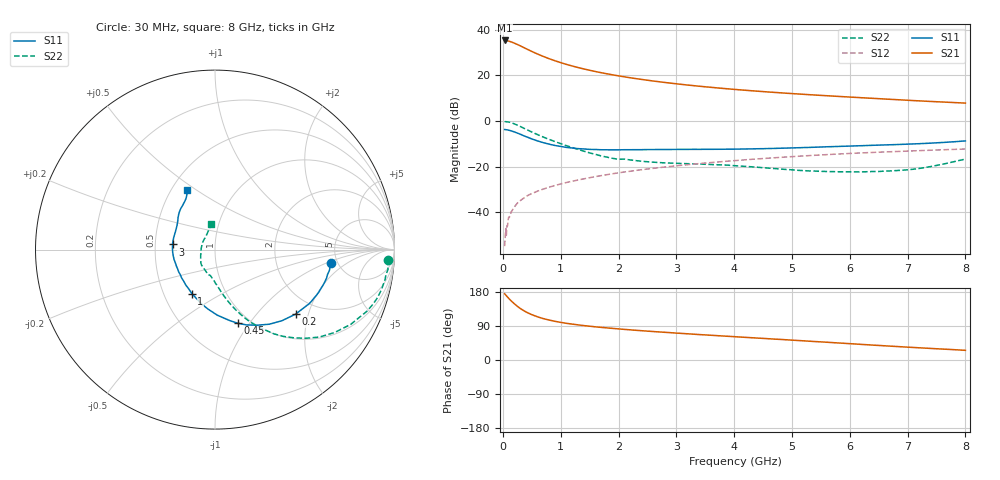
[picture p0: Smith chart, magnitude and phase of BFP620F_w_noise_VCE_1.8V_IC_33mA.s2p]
! Infineon Technologies  Discrete & RF Semiconductors
! BFP620F
! VCE =  1.8 V,  IC =  33 mA
! Common Emitter S-Parameters:  Dec 2014
# GHz  S  MA  R  50
!  f  S11  S21  S12  S22
! GHz  MAG  ANG  MAG  ANG  MAG  ANG  MAG  ANG
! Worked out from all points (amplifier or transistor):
!   95 points, 30 MHz to 8 GHz, reference 50 ohm
!   highest |S21| = 35.3 dB at 30 MHz (marker M1)
!   |S21| within 3 dB of that: start of sweep to 351.4 MHz
!   unconditionally stable (mu >= 1): 2.377 GHz to end of sweep
!   at 300 MHz: K = 0.39, MSG = 34.0 dB, |S12| = -34.9 dB
!   at 3.3 GHz: K = 1.02, MAG = 16.2 dB, |S12| = -18.9 dB
!   at 8 GHz: K = 1.06, MAG = 8.6 dB, |S12| = -12.3 dB
!   lowest NFmin = 1.20 dB at 450 MHz
!   S11 on the Smith chart (normalised r, x): 30 MHz: 4.42, -1.11; 200 MHz: 1.55, -1.66; 450 MHz: 0.88, -0.88; 1 GHz: 0.69, -0.37; 3 GHz: 0.62, +0.04; 8 GHz: 0.60, +0.46
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0.03  0.6496 -6.4  58.41 174.8  0.0018 71.7  0.9638 -3.3
0.08  0.6379 -16.3  57.42 166.2  0.005 72.5  0.9581 -11.5
0.12  0.6198 -24.3  55.49 159.6  0.0082 79.8  0.9371 -17.9
0.15  0.6051 -29.9  53.98 155.1  0.0104 77.8  0.9128 -22.2
0.2  0.5754 -38.6  50.88 148.1  0.0131 74.7  0.8629 -28.9
0.25  0.5444 -46.7  47.75 141.7  0.0158 71.4  0.811 -34.7
0.3  0.5139 -54.0  44.56 136.1  0.0179 71.8  0.7584 -40.0
0.4  0.4543 -67.4  38.63 126.8  0.0221 67.0  0.658 -48.3
0.45  0.4295 -72.8  35.98 123.1  0.024 66.8  0.6152 -51.8
0.5  0.4047 -78.1  33.57 119.7  0.0256 66.5  0.5745 -54.9
0.6  0.3656 -88.0  29.42 113.9  0.029 65.7  0.5026 -60.0
0.7  0.335 -96.3  26.05 109.2  0.0322 65.1  0.4446 -64.4
0.8  0.311 -104.1  23.26 105.4  0.0354 64.9  0.3953 -67.9
1  0.2769 -117.7  19.07 99.3  0.0417 65.1  0.3191 -73.9
1.4  0.2441 -139.4  13.87 90.8  0.054 64.7  0.2185 -84.1
2  0.2331 -162.8  9.777 82.1  0.073 63.2  0.1449 -101.3
2.7  0.2372 179.3  7.266 74.1  0.0948 60.2  0.1227 -119.5
3  0.2381 173.1  6.549 71.0  0.1041 58.5  0.1185 -125.5
4.1  0.2426 155.0  4.827 60.6  0.1379 52.4  0.1031 -140.2
5.4  0.2665 140.9  3.714 48.7  0.1774 43.9  0.0799 -170.2
6.7  0.3014 128.0  2.99 36.6  0.2118 34.6  0.0805 145.1
8  0.366 115.0  2.472 25.5  0.2433 25.6  0.1462 99.0
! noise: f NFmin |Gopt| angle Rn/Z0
0.45  1.2  0.08  -172  0.17
0.9  1.23  0.09  -171  0.13
1.5  1.24  0.14  -149  0.13
1.8  1.25  0.14  -148  0.14
1.9  1.26  0.15  -148  0.14
2.4  1.28  0.15  215  0.16
3.5  1.34  0.16  -140  0.18
5.5  1.49  0.23  243  0.14
6  1.53  0.24  260  0.17
